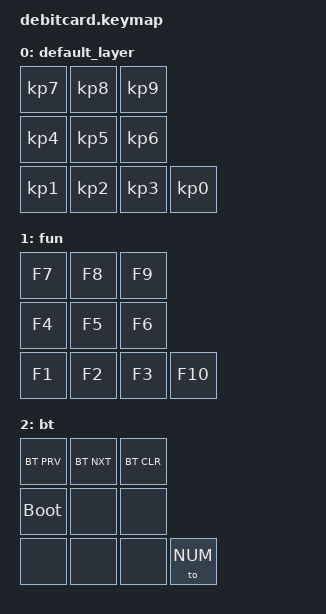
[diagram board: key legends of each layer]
/*
 * Copyright (c) 2020 The ZMK Contributors
 *
 * SPDX-License-Identifier: MIT
 */

#include <behaviors.dtsi>
#include <dt-bindings/zmk/keys.h>
#include <dt-bindings/zmk/bt.h>



&mt {
    tapping-term-ms = <201>;
    flavor = "tap-preferred";
 };
&sk {
     release-after-ms = <2000>;
     quick-release;
 };
 
/* Layers */

#define NUM 0
#define FUN 1	
#define BT  2	
/ { 
    combos {
        compatible = "zmk,combos";

        combo_func  {
            timeout-ms = <10>;
            key-positions = <9>;
            bindings = <&to FUN>;
	    layers = <NUM>; 
        };

        combo_bt  {
            timeout-ms = <10>;
            key-positions = <9>;
            bindings = <&to BT>;
	    layers = <FUN>; 
        };
		
        combo_num  {
            timeout-ms = <10>;
            key-positions = <9>;
            bindings = <&to NUM>;
	    layers = <BT>; 
        };

    };


// 	        	        7   8	9  			
//					    4   5   6
// 						1	2	3  0
       keymap {
                compatible = "zmk,keymap";
                
		default_layer {
		bindings = <
		        &kp KP_N7  &kp KP_N8  &kp KP_N9
		        &kp KP_N4  &kp KP_N5  &kp KP_N6
		        &kp KP_N1  &kp KP_N2  &kp KP_N3  &kp KP_N0
		>;
		};

		fun {
		bindings = <
		        &kp F7  &kp F8  &kp F9
		        &kp F4  &kp F5  &kp F6
		        &kp F1  &kp F2  &kp F3  &kp F10
		>;
		};

		bt {
		bindings = <
				&bt BT_PRV  	&bt BT_NXT 	&bt BT_CLR		
				&bootloader  	&none  		&none  
				&none	 		&none  		&none  		&to NUM
		>;
		};

	};
};
